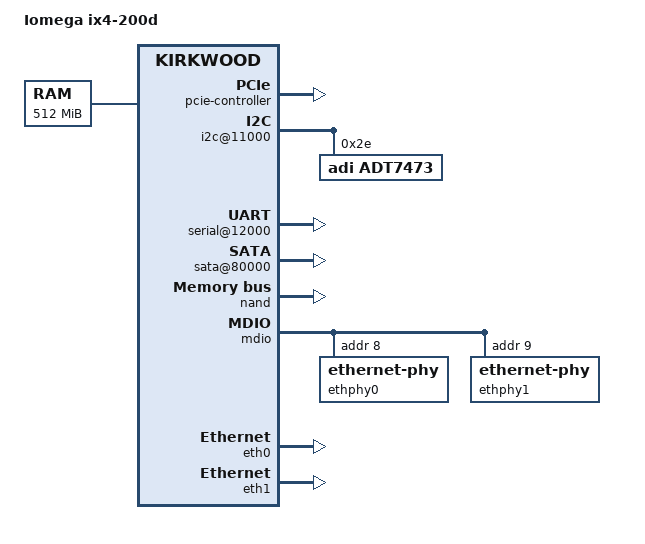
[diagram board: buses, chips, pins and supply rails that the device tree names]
/dts-v1/;

#include "kirkwood.dtsi"
#include "kirkwood-6281.dtsi"

/ {
	model = "Iomega ix4-200d";
	compatible = "marvell,rd88f6281-a", "marvell,rd88f6281", "marvell,kirkwood-88f6281", "marvell,kirkwood";

memory {
        device_type = "memory";
        reg = <0x00000000 0x20000000>;
};

chosen {
        bootargs = "console=ttyS0,115200n8 earlyprintk";
        stdout-path = &uart0;
};

mbus {
        pcie-controller {
                status = "okay";

                pcie@1,0 {
                        status = "okay";
                };
        };
};

ocp@f1000000 {

	i2c@11000 {
		status = "okay";

		adt7473@2e {
			compatible = "adi,adt7473";
			reg = <0x2e>;
		};
	};

        serial@12000 {
                status = "ok";
        };

        sata@80000 {
                status = "okay";
                nr-ports = <2>;
        };

};

};

&nand {
        status = "okay";

        partition@0 {
                label = "u-boot";
                reg = <0x0000000 0xb0000>;
                read-only;
        };

	partition@a0000 {
                label = "env";
                reg = <0xa0000 0x10000>;
                read-only;
        };

        partition@b0000 {
                label = "uImage";
                reg = <0xb0000 0x224000>;
        };

        partition@2d4000 {
                label = "uInitrd";
                reg = <0x2d4000 0x224000>;
        };
};

&mdio {
	status = "okay";

	ethphy0: ethernet-phy@8 {
		device_type = "ethernet-phy";
		reg = <8>;
	};

	ethphy1: ethernet-phy@9 {
		device_type = "ethernet-phy";
		reg = <9>;
	};
};

&eth0 {
	status = "okay";
	ethernet0-port@0 {
		phy-handle = <&ethphy0>;
	};
};

&eth1 {
	status = "okay";
	ethernet1-port@0 {
		phy-handle = <&ethphy1>;
	};
};
